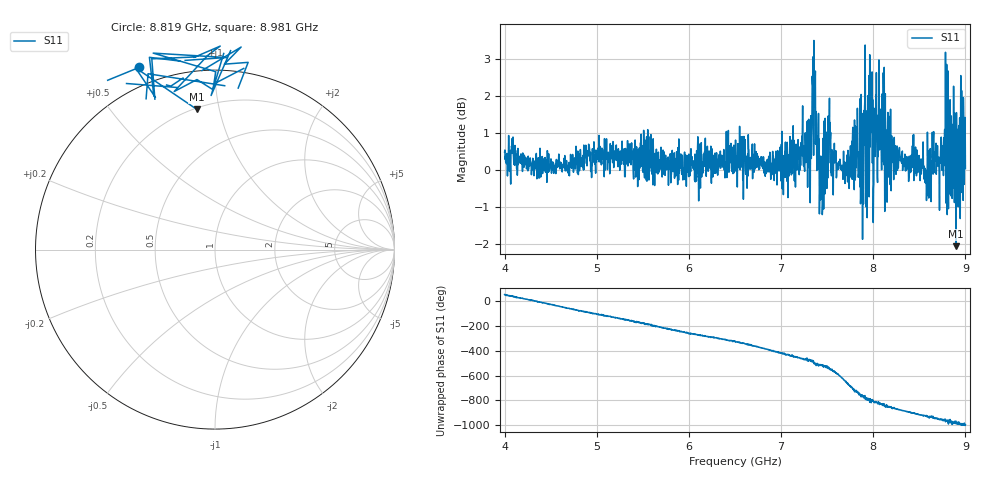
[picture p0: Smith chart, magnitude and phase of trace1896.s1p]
! Created with skrf 1.8.0 (http://scikit-rf.org).
# Hz S RI R 50.0
!freq ReS11 ImS11
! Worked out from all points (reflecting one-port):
!   1601 points, 4 GHz to 9 GHz, reference 50 ohm
!   lowest |S11| = -2.1 dB at 8.9 GHz (marker M1), VSWR 8.44, Z = 10.4 + j42.8 ohm
!   phase of S11 starts at 53 deg and turns -1047 deg over the sweep
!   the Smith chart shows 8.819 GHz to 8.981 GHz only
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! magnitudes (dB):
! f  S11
! 4 GHz  0.5
! 4.625 GHz  -0.1
! 5.25 GHz  0.0
! 5.875 GHz  0.1
! 6.5 GHz  0.6
! 7.038 GHz  -0.2
! 7.125 GHz  0.5
! 7.306 GHz  0.5
! 7.359 GHz  1.9
! 7.403 GHz  0.3
! 7.438 GHz  0.0
! 7.512 GHz  1.5
! 7.625 GHz  0.0
! 7.75 GHz  0.4
! 7.869 GHz  2.0
! 7.928 GHz  1.6
! 7.944 GHz  2.0
! 7.969 GHz  1.3
! 7.981 GHz  1.0
! 8.022 GHz  0.4
! 8.088 GHz  0.2
! 8.216 GHz  0.5
! 8.375 GHz  0.0
! 8.578 GHz  -0.8
! 8.809 GHz  2.7
! 8.9 GHz  -2.1
! 8.972 GHz  0.5
! 9 GHz  0.0
